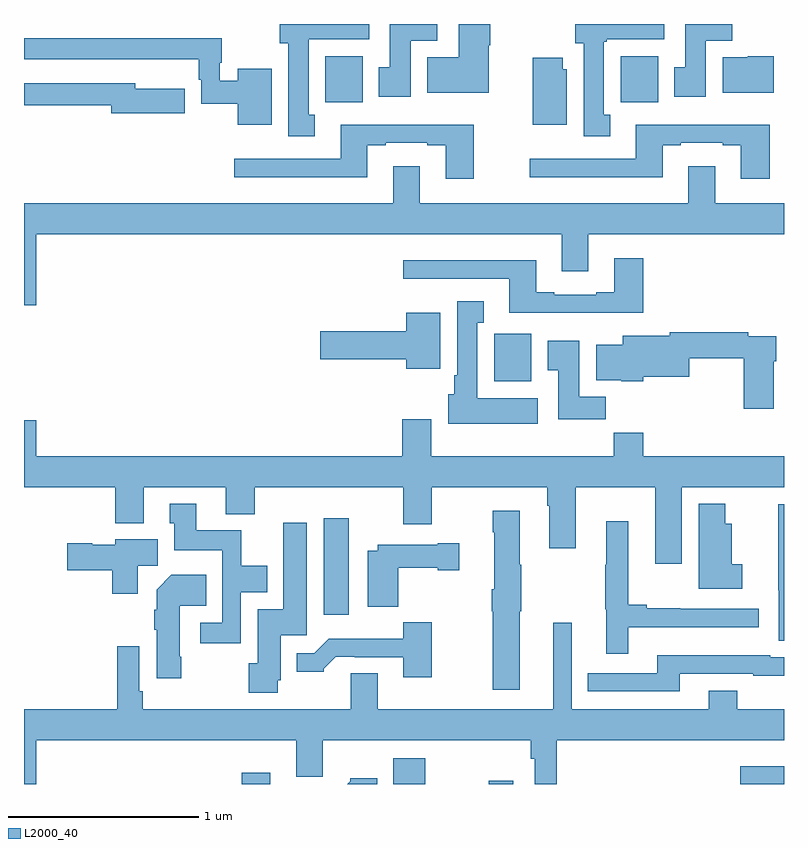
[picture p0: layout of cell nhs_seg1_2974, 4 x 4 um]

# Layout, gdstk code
import gdstk
lib = gdstk.Library(unit=1e-6, precision=1e-09)
def R(c, l, rs):  # rectangles x0, y0, x1, y1
    for r in rs: c.add(gdstk.rectangle(r[:2], r[2:], *l))
def P(c, l, *ps):  # polygons
    for p in ps: c.add(gdstk.Polygon(p, *l))
L2000_40 = (2000, 40)

nhs_seg1_2974 = lib.new_cell('nhs_seg1_2974')
R(nhs_seg1_2974, L2000_40, [(274.145,522.199,274.297,522.259), (274.943,522.199,275.112,522.334), (275.446,522.199,275.575,522.217), (276.771,522.199,277,522.292), (274.577,523.089,274.708,523.597), (275.475,524.318,275.671,524.568), (274.586,525.788,274.783,526.03), (276.14,525.788,276.337,526.03)])
P(nhs_seg1_2974, L2000_40, [(275.035,526.112),(275.174,526.112),(275.174,526.199),(274.925,526.199),(274.925,525.972),(274.868,525.972),(274.868,525.816),(275.035,525.816)],
  [(276.589,526.112),(276.728,526.112),(276.728,526.199),(276.479,526.199),(276.479,525.972),(276.422,525.972),(276.422,525.816),(276.589,525.816)],
  [(274.531,525.722),(274.498,525.722),(274.498,526.118),(274.816,526.118),(274.816,526.199),(274.346,526.199),(274.346,526.098),(274.391,526.098),(274.391,525.609),(274.531,525.609)],
  [(276.085,525.722),(276.052,525.722),(276.052,526.105),(276.066,526.105),(276.066,526.118),(276.37,526.118),(276.37,526.199),(275.9,526.199),(275.9,526.098),(275.945,526.098),(275.945,525.609),(276.085,525.609)],
  [(275.446,526.088),(275.454,526.088),(275.454,526.199),(275.288,526.199),(275.288,526.024),(275.123,526.024),(275.123,525.836),(275.446,525.836)],
  [(274.303,525.964),(274.124,525.964),(274.124,525.901),(274.029,525.901),(274.029,525.996),(274.042,525.996),(274.042,526.123),(273,526.123),(273,526.014),(273.682,526.014),(273.682,526.013),(273.921,526.013),(273.921,525.906),(273.933,525.906),(273.933,525.78),(274.124,525.78),(274.124,525.668),(274.303,525.668)],
  [(276.946,526.03),(276.81,526.03),(276.81,526.024),(276.677,526.024),(276.677,525.836),(276.946,525.836)],
  [(275.857,525.96),(275.836,525.96),(275.836,526.021),(275.678,526.021),(275.678,525.668),(275.857,525.668)],
  [(273.847,525.859),(273.586,525.859),(273.586,525.888),(273,525.888),(273,525.772),(273.458,525.772),(273.458,525.73),(273.847,525.73)],
  [(275.367,525.67),(274.667,525.67),(274.667,525.489),(274.107,525.489),(274.107,525.392),(274.807,525.392),(274.807,525.561),(274.903,525.561),(274.903,525.573),(275.123,525.573),(275.123,525.561),(275.219,525.561),(275.219,525.384),(275.367,525.384)],
  [(276.926,525.67),(276.221,525.67),(276.221,525.489),(275.661,525.489),(275.661,525.392),(276.361,525.392),(276.361,525.561),(276.457,525.561),(276.457,525.573),(276.677,525.573),(276.677,525.561),(276.773,525.561),(276.773,525.384),(276.926,525.384)],
  [(275.083,525.451),(274.943,525.451),(274.943,525.256),(273,525.256),(273,524.718),(273.064,524.718),(273.064,525.092),(275.831,525.092),(275.831,524.898),(275.971,524.898),(275.971,525.092),(277,525.092),(277,525.256),(276.637,525.256),(276.637,525.451),(276.497,525.451),(276.497,525.256),(275.083,525.256)],
  [(276.26,524.965),(276.107,524.965),(276.107,524.788),(276.011,524.788),(276.011,524.775),(275.791,524.775),(275.791,524.788),(275.695,524.788),(275.695,524.956),(274.995,524.956),(274.995,524.859),(275.555,524.859),(275.555,524.678),(276.26,524.678)],
  [(275.704,524.23),(275.386,524.23),(275.386,524.627),(275.419,524.627),(275.419,524.74),(275.279,524.74),(275.279,524.35),(275.264,524.35),(275.264,524.25),(275.234,524.25),(275.234,524.096),(275.704,524.096)],
  [(275.191,524.68),(275.012,524.68),(275.012,524.582),(274.56,524.582),(274.56,524.435),(275.012,524.435),(275.012,524.384),(275.191,524.384)],
  [(276.946,524.423),(276.959,524.423),(276.959,524.556),(276.812,524.556),(276.812,524.576),(276.398,524.576),(276.398,524.557),(276.152,524.557),(276.152,524.512),(276.011,524.512),(276.011,524.324),(276.144,524.324),(276.144,524.318),(276.258,524.318),(276.258,524.342),(276.502,524.342),(276.502,524.44),(276.788,524.44),(276.788,524.175),(276.946,524.175)],
  [(276.062,524.236),(275.923,524.236),(275.923,524.533),(275.756,524.533),(275.756,524.377),(275.813,524.377),(275.813,524.118),(276.062,524.118)],
  [(276.463,523.76),(277,523.76),(277,523.924),(276.26,523.924),(276.26,524.048),(276.103,524.048),(276.103,523.924),(275.143,523.924),(275.143,524.119),(274.991,524.119),(274.991,523.924),(273.064,523.924),(273.064,524.113),(273,524.113),(273,523.76),(273.479,523.76),(273.479,523.571),(273.631,523.571),(273.631,523.76),(274.061,523.76),(274.061,523.619),(274.214,523.619),(274.214,523.76),(274.997,523.76),(274.997,523.566),(275.145,523.566),(275.145,523.76),(275.753,523.76),(275.753,523.664),(275.765,523.664),(275.765,523.44),(275.905,523.44),(275.905,523.76),(276.323,523.76),(276.323,523.359),(276.463,523.359)],
  [(276.781,523.356),(276.724,523.356),(276.724,523.57),(276.691,523.57),(276.691,523.675),(276.551,523.675),(276.551,523.226),(276.781,523.226)],
  [(274.14,523.208),(274.279,523.208),(274.279,523.348),(274.143,523.348),(274.143,523.534),(273.907,523.534),(273.907,523.675),(273.767,523.675),(273.767,523.572),(273.791,523.572),(273.791,523.43),(274.044,523.43),(274.044,523.047),(273.927,523.047),(273.927,522.939),(274.14,522.939)],
  [(277,523.672),(276.97,523.672),(276.97,523.219),(276.972,523.219),(276.972,522.952),(277,522.952)],
  [(275.608,523.108),(275.616,523.108),(275.616,523.352),(275.608,523.352),(275.608,523.636),(275.467,523.636),(275.467,523.523),(275.474,523.523),(275.474,523.223),(275.462,523.223),(275.462,523.108),(275.467,523.108),(275.467,522.696),(275.608,522.696)],
  [(276.181,523.025),(276.868,523.025),(276.868,523.122),(276.455,523.122),(276.455,523.125),(276.277,523.125),(276.277,523.142),(276.181,523.142),(276.181,523.582),(276.065,523.582),(276.065,523.352),(276.058,523.352),(276.058,523.119),(276.065,523.119),(276.065,522.885),(276.181,522.885)],
  [(274.335,522.744),(274.351,522.744),(274.351,522.981),(274.489,522.981),(274.489,523.573),(274.364,523.573),(274.364,523.12),(274.229,523.12),(274.229,522.834),(274.183,522.834),(274.183,522.678),(274.335,522.678)],
  [(273.598,523.348),(273.703,523.348),(273.703,523.486),(273.48,523.486),(273.48,523.459),(273.36,523.459),(273.36,523.467),(273.228,523.467),(273.228,523.325),(273.464,523.325),(273.464,523.2),(273.598,523.2)],
  [(274.97,523.337),(275.177,523.337),(275.177,523.325),(275.29,523.325),(275.29,523.467),(275.177,523.467),(275.177,523.459),(274.863,523.459),(274.863,523.426),(274.808,523.426),(274.808,523.133),(274.97,523.133)],
  [(273.828,522.868),(273.82,522.868),(273.82,523.136),(273.959,523.136),(273.959,523.3),(273.776,523.3),(273.698,523.222),(273.698,523.115),(273.686,523.115),(273.686,523.012),(273.698,523.012),(273.698,522.756),(273.828,522.756)],
  [(275.145,523.051),(274.995,523.051),(274.995,522.964),(274.603,522.964),(274.527,522.888),(274.436,522.888),(274.436,522.791),(274.578,522.791),(274.578,522.806),(274.642,522.87),(274.741,522.87),(274.741,522.867),(274.997,522.867),(274.997,522.762),(275.145,522.762)],
  [(273.064,522.428),(274.433,522.428),(274.433,522.238),(274.573,522.238),(274.573,522.428),(275.668,522.428),(275.668,522.332),(275.688,522.332),(275.688,522.199),(275.804,522.199),(275.804,522.428),(277,522.428),(277,522.592),(276.753,522.592),(276.753,522.691),(276.605,522.691),(276.605,522.592),(275.883,522.592),(275.883,523.048),(275.786,523.048),(275.786,522.592),(274.861,522.592),(274.861,522.782),(274.721,522.782),(274.721,522.592),(273.626,522.592),(273.626,522.688),(273.606,522.688),(273.606,522.925),(273.49,522.925),(273.49,522.592),(273,522.592),(273,522.199),(273.064,522.199)],
  [(276.451,522.78),(276.837,522.78),(276.837,522.77),(277,522.77),(277,522.867),(276.927,522.867),(276.927,522.877),(276.332,522.877),(276.332,522.783),(275.968,522.783),(275.968,522.687),(276.451,522.687)],
  [(274.858,522.229),(274.716,522.229),(274.716,522.214),(274.701,522.199),(274.858,522.199)])

lib.write_gds('nhs_seg1_2974.gds')
